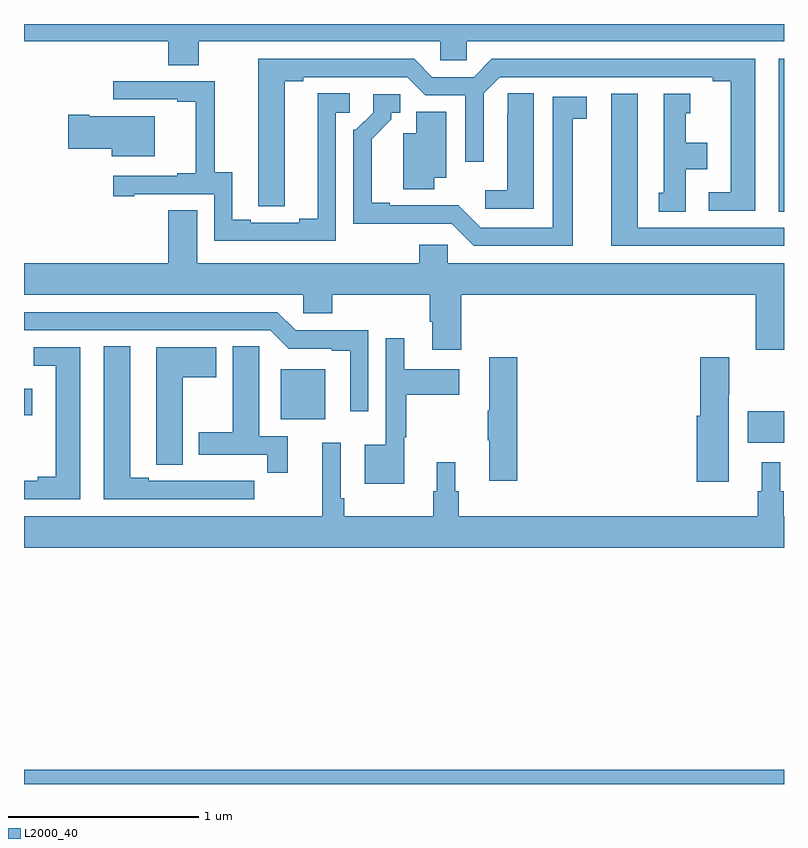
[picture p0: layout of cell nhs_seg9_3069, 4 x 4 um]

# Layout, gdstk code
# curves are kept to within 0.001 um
import gdstk
lib = gdstk.Library(unit=1e-6, precision=1e-09)
def R(c, l, rs):  # rectangles x0, y0, x1, y1
    for r in rs: c.add(gdstk.rectangle(r[:2], r[2:], *l))
def P(c, l, *ps):  # polygons
    for p in ps: c.add(gdstk.Polygon(p, *l))
L2000_40 = (2000, 40)

nhs_seg9_3069 = lib.new_cell('nhs_seg9_3069')
R(nhs_seg9_3069, L2000_40, [(287,1204.5,291,1204.576), (290.808,1206.296,291,1206.462), (288.35,1206.419,288.586,1206.682), (287,1206.44,287.044,1206.58), (290.972,1207.513,291,1208.316)])
P(nhs_seg9_3069, L2000_40, [(287.919,1208.408),(289.191,1208.408),(289.191,1208.31),(289.329,1208.31),(289.329,1208.408),(291,1208.408),(291,1208.5),(287,1208.5),(287,1208.408),(287.759,1208.408),(287.759,1208.284),(287.919,1208.284)],
  [(290.848,1208.316),(289.463,1208.316),(289.367,1208.22),(289.149,1208.22),(289.053,1208.316),(288.233,1208.316),(288.234,1207.54),(288.373,1207.54),(288.373,1208.2),(288.469,1208.2),(288.469,1208.22),(289.017,1208.22),(289.113,1208.124),(289.323,1208.124),(289.323,1207.776),(289.419,1207.776),(289.419,1208.136),(289.503,1208.22),(290.624,1208.22),(290.624,1208.2),(290.72,1208.2),(290.72,1207.614),(290.604,1207.614),(290.604,1207.518),(290.848,1207.518)],
  [(288.642,1208.034),(288.715,1208.034),(288.715,1208.135),(288.545,1208.135),(288.545,1207.475),(288.449,1207.475),(288.449,1207.455),(288.193,1207.455),(288.193,1207.47),(288.097,1207.47),(288.097,1207.721),(288.003,1207.721),(288.003,1208.199),(287.469,1208.199),(287.469,1208.103),(287.807,1208.103),(287.807,1208.091),(287.903,1208.091),(287.903,1207.714),(287.807,1207.714),(287.807,1207.701),(287.469,1207.701),(287.469,1207.593),(287.581,1207.593),(287.581,1207.605),(288,1207.605),(288,1207.359),(288.642,1207.359)],
  [(289.684,1208.135),(289.545,1208.135),(289.545,1208.027),(289.544,1208.027),(289.544,1207.624),(289.428,1207.624),(289.428,1207.527),(289.684,1207.527)],
  [(291,1207.428),(290.23,1207.428),(290.23,1208.134),(290.09,1208.134),(290.09,1207.332),(291,1207.332)],
  [(290.482,1207.736),(290.596,1207.736),(290.596,1207.876),(290.482,1207.876),(290.482,1208.031),(290.506,1208.031),(290.506,1208.134),(290.366,1208.134),(290.366,1207.611),(290.342,1207.611),(290.342,1207.513),(290.482,1207.513)],
  [(289.888,1208.002),(289.963,1208.002),(289.963,1208.118),(289.784,1208.118),(289.784,1207.428),(289.404,1207.428),(289.286,1207.546),(288.925,1207.545),(288.925,1207.558),(288.829,1207.558),(288.829,1207.894),(288.934,1207.999),(288.934,1208.034),(288.979,1208.034),(288.979,1208.13),(288.837,1208.13),(288.837,1208.034),(288.747,1207.944),(288.732,1207.944),(288.732,1207.448),(289.251,1207.449),(289.368,1207.332),(289.888,1207.332)],
  [(289.159,1207.691),(289.222,1207.691),(289.222,1208.039),(289.064,1208.039),(289.064,1207.924),(288.995,1207.924),(288.995,1207.63),(289.159,1207.63)],
  [(287.689,1208.014),(287.344,1208.014),(287.344,1208.022),(287.232,1208.022),(287.232,1207.844),(287.462,1207.844),(287.462,1207.805),(287.689,1207.805)],
  [(289.301,1207.076),(290.852,1207.076),(290.852,1206.786),(291,1206.786),(291,1207.24),(289.23,1207.24),(289.23,1207.338),(289.079,1207.338),(289.079,1207.24),(287.911,1207.24),(287.911,1207.52),(287.759,1207.52),(287.759,1207.24),(287,1207.24),(287,1207.076),(288.471,1207.076),(288.471,1206.978),(288.623,1206.978),(288.623,1207.076),(289.136,1207.076),(289.136,1206.934),(289.148,1206.934),(289.148,1206.786),(289.301,1206.786)],
  [(288.813,1206.888),(288.429,1206.888),(288.333,1206.984),(287,1206.984),(287,1206.888),(288.297,1206.888),(288.393,1206.792),(288.62,1206.792),(288.62,1206.78),(288.716,1206.78),(288.716,1206.462),(288.813,1206.462)],
  [(289,1206.324),(289.012,1206.324),(289.012,1206.548),(289.291,1206.548),(289.291,1206.682),(289,1206.682),(289,1206.847),(288.903,1206.847),(288.903,1206.286),(288.794,1206.286),(288.794,1206.08),(289,1206.08)],
  [(288.389,1206.33),(288.238,1206.33),(288.238,1206.692),(288.237,1206.692),(288.237,1206.803),(288.098,1206.803),(288.098,1206.351),(287.921,1206.351),(287.921,1206.234),(288.28,1206.234),(288.28,1206.138),(288.389,1206.138)],
  [(288.211,1206.096),(288.098,1206.096),(288.098,1206.097),(287.932,1206.097),(287.932,1206.096),(287.656,1206.096),(287.656,1206.111),(287.56,1206.111),(287.56,1206.803),(287.42,1206.803),(287.42,1206),(288.211,1206)],
  [(287.836,1206.64),(288.013,1206.64),(288.013,1206.799),(287.696,1206.799),(287.696,1206.289),(287.697,1206.289),(287.697,1206.181),(287.836,1206.181)],
  [(287.296,1206.798),(287.052,1206.798),(287.052,1206.702),(287.168,1206.702),(287.168,1206.116),(287.072,1206.116),(287.072,1206.096),(287,1206.096),(287,1206),(287.296,1206)],
  [(290.71,1206.55),(290.712,1206.55),(290.712,1206.745),(290.558,1206.745),(290.558,1206.438),(290.54,1206.438),(290.54,1206.09),(290.71,1206.09)],
  [(289.595,1206.745),(289.448,1206.745),(289.448,1206.464),(289.441,1206.464),(289.441,1206.308),(289.448,1206.308),(289.448,1206.096),(289.595,1206.096)],
  [(291,1205.908),(290.999,1205.908),(290.999,1206.042),(290.98,1206.042),(290.98,1206.193),(290.882,1206.193),(290.882,1206.042),(290.863,1206.042),(290.863,1205.908),(289.289,1205.908),(289.289,1206.042),(289.27,1206.042),(289.27,1206.193),(289.172,1206.193),(289.172,1206.042),(289.153,1206.042),(289.153,1205.908),(288.686,1205.908),(288.686,1206.004),(288.666,1206.004),(288.666,1206.295),(288.569,1206.295),(288.569,1205.908),(287,1205.908),(287,1205.744),(291,1205.744)])

lib.write_gds('nhs_seg9_3069.gds')
